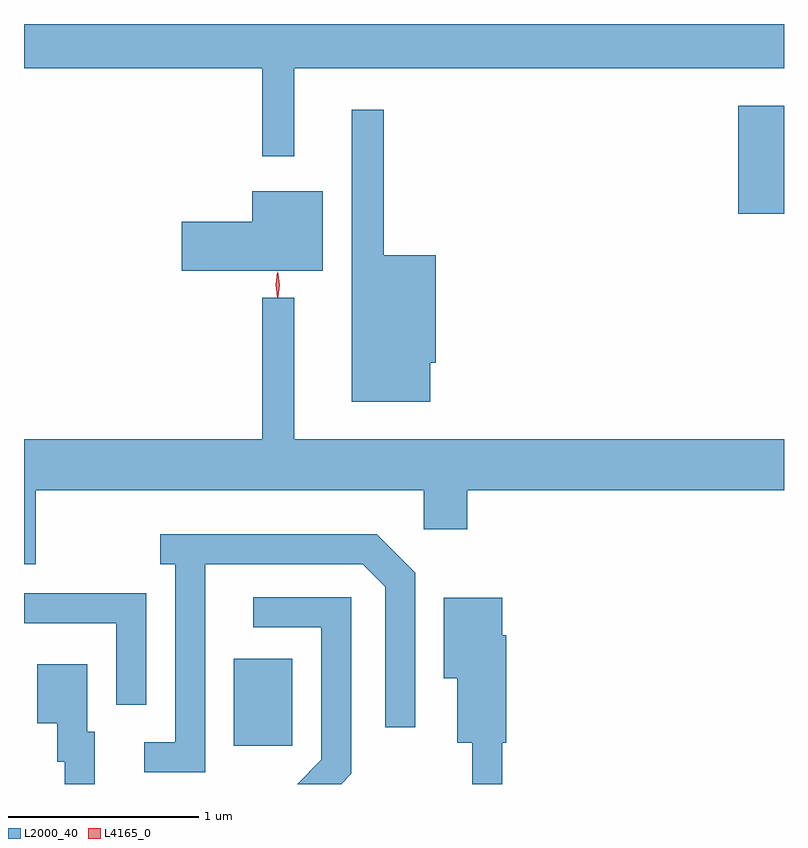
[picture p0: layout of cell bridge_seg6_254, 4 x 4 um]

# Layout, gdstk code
import gdstk
lib = gdstk.Library(unit=1e-6, precision=1e-09)
def R(c, l, rs):  # rectangles x0, y0, x1, y1
    for r in rs: c.add(gdstk.rectangle(r[:2], r[2:], *l))
def P(c, l, *ps):  # polygons
    for p in ps: c.add(gdstk.Polygon(p, *l))
L2000_40 = (2000, 40)
L4165_0 = (4165, 0)

bridge_seg6_254 = lib.new_cell('bridge_seg6_254')
R(bridge_seg6_254, L2000_40, [(1263.411,1566.451,1263.719,1566.909), (1266.066,1569.251,1266.306,1569.819)])
P(bridge_seg6_254, L2000_40, [(1263.729,1570.016),(1266.306,1570.016),(1266.306,1570.25),(1262.306,1570.25),(1262.306,1570.016),(1263.561,1570.016),(1263.561,1569.553),(1263.729,1569.553)],
  [(1264.444,1568.466),(1264.474,1568.466),(1264.474,1569.034),(1264.199,1569.034),(1264.199,1569.798),(1264.031,1569.798),(1264.031,1568.261),(1264.444,1568.261)],
  [(1263.879,1569.369),(1263.506,1569.369),(1263.506,1569.209),(1263.136,1569.209),(1263.136,1568.951),(1263.879,1568.951)],
  [(1262.369,1567.796),(1264.411,1567.796),(1264.411,1567.591),(1264.639,1567.591),(1264.639,1567.796),(1266.306,1567.796),(1266.306,1568.064),(1263.729,1568.064),(1263.729,1568.808),(1263.561,1568.808),(1263.561,1568.064),(1262.306,1568.064),(1262.306,1567.406),(1262.369,1567.406)],
  [(1263.259,1567.406),(1264.089,1567.406),(1264.206,1567.289),(1264.206,1566.548),(1264.364,1566.548),(1264.364,1567.362),(1264.162,1567.564),(1263.023,1567.564),(1263.023,1567.406),(1263.101,1567.406),(1263.101,1566.469),(1262.938,1566.469),(1262.938,1566.311),(1263.259,1566.311)],
  [(1262.949,1567.254),(1262.306,1567.254),(1262.306,1567.096),(1262.791,1567.096),(1262.791,1566.668),(1262.949,1566.668)],
  [(1264.029,1566.304),(1264.029,1567.234),(1263.513,1567.234),(1263.513,1567.076),(1263.871,1567.076),(1263.871,1566.377),(1263.745,1566.25),(1263.975,1566.25)],
  [(1264.824,1566.466),(1264.844,1566.466),(1264.844,1567.034),(1264.824,1567.034),(1264.824,1567.229),(1264.516,1567.229),(1264.516,1566.806),(1264.586,1566.806),(1264.586,1566.466),(1264.666,1566.466),(1264.666,1566.25),(1264.824,1566.25)],
  [(1262.679,1566.524),(1262.639,1566.524),(1262.639,1566.879),(1262.376,1566.879),(1262.376,1566.571),(1262.481,1566.571),(1262.481,1566.366),(1262.521,1566.366),(1262.521,1566.25),(1262.679,1566.25)])
P(bridge_seg6_254, L4165_0, [(1263.642,1568.813),(1263.633,1568.876),(1263.642,1568.939),(1263.643,1568.94),(1263.644,1568.939),(1263.653,1568.876),(1263.644,1568.813),(1263.643,1568.813)],
  [(1263.64,1568.81),(1263.63,1568.878),(1263.639,1568.945),(1263.64,1568.946),(1263.64,1568.945),(1263.65,1568.878),(1263.641,1568.81),(1263.641,1568.81)])

lib.write_gds('bridge_seg6_254.gds')
